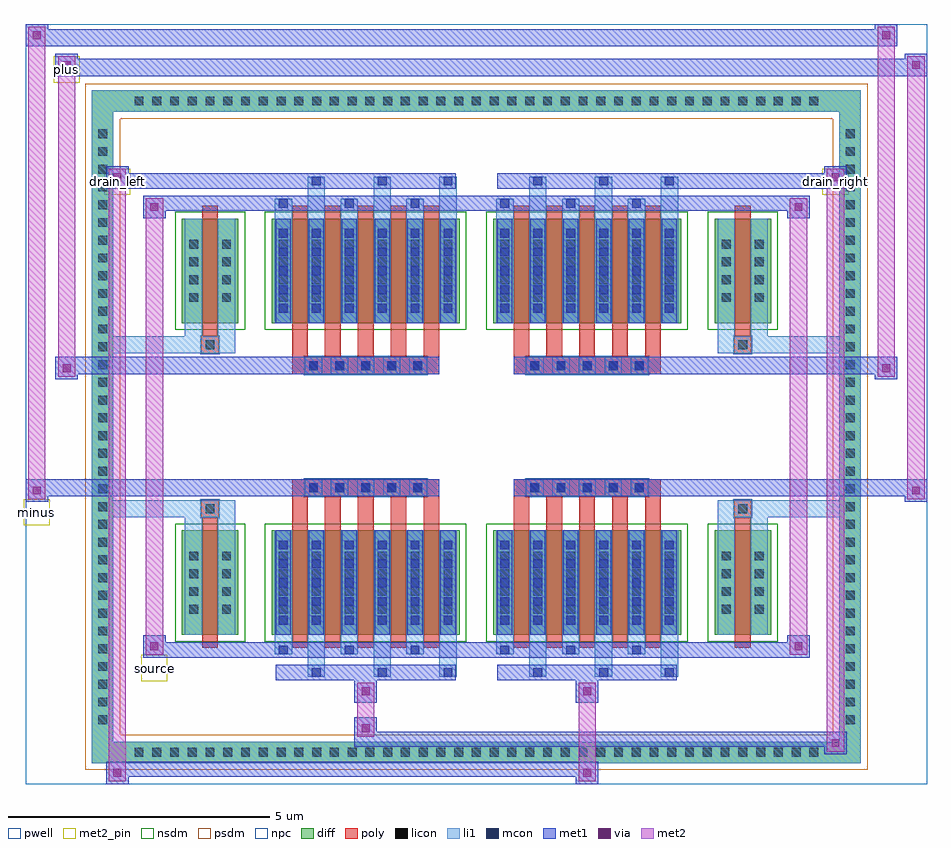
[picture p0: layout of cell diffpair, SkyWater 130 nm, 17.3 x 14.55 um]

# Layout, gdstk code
import gdstk
lib = gdstk.Library(unit=1e-6, precision=5e-09)
def R(c, l, rs):  # rectangles x0, y0, x1, y1
    for r in rs: c.add(gdstk.rectangle(r[:2], r[2:], *l))
def A(c, l, x, y, w, h, nx, ny, dx, dy):  # array of equal rectangles
    R(c, l, [(x+i*dx, y+j*dy, x+i*dx+w, y+j*dy+h) for i in range(nx) for j in range(ny)])
def P(c, l, *ps):  # polygons
    for p in ps: c.add(gdstk.Polygon(p, *l))
pwell = (64, 44)
diff = (65, 20)
poly = (66, 20)
licon = (66, 44)
li1 = (67, 20)
mcon = (67, 44)
met1 = (68, 20)
via = (68, 44)
met2_pin = (69, 16)
met2 = (69, 20)
nsdm = (93, 44)
psdm = (94, 20)
npc = (95, 20)

diffpair = lib.new_cell('diffpair')
R(diffpair, pwell, [(-8.63,-6.84,8.63,7.71), (-5.95,-5.03,-0.01,-0.805), (0.01,-5.03,5.95,-0.805), (-5.95,0.805,-0.01,5.03), (0.01,0.805,5.95,5.03)])
A(diffpair, diff, -6.665, -6.44, 0.41, 0.41, 39, 2, 0.34, 12.47)
A(diffpair, diff, -7.36, -5.815, 0.41, 0.41, 1, 34, 0, 0.34)
A(diffpair, diff, 6.95, -5.815, 0.41, 0.41, 1, 34, 0, 0.34)
R(diffpair, diff, [(-6.665,-6.44,6.665,-6.03), (-7.36,-5.815,-6.95,5.815), (6.95,-5.815,7.36,5.815), (-5.64,-3.985,-4.56,-1.985), (-3.92,-3.985,-0.32,-1.985), (0.32,-3.985,3.92,-1.985), (4.56,-3.985,5.64,-1.985), (-5.64,1.985,-4.56,3.985), (-3.92,1.985,-0.32,3.985), (0.32,1.985,3.92,3.985), (4.56,1.985,5.64,3.985), (-6.665,6.03,6.665,6.44)])
P(diffpair, diff, [(7.36,6.44),(-7.36,6.44),(-7.36,-6.03),(-6.95,-6.03),(-6.95,6.03),(6.95,6.03),(6.95,-6.03),(-6.95,-6.03),(-7.36,-6.03),(-7.36,-6.44),(7.36,-6.44)])
A(diffpair, poly, -3.53, -4.235, 0.3, 2.5, 5, 2, 0.63, 5.97)
A(diffpair, poly, 0.71, -4.235, 0.3, 2.5, 5, 2, 0.63, 5.97)
A(diffpair, poly, -3.53, -1.735, 0.3, 0.4, 5, 2, 0.63, 3.07)
A(diffpair, poly, 0.71, -1.735, 0.3, 0.4, 5, 2, 0.63, 3.07)
A(diffpair, poly, -3.285, -1.335, 0.33, 0.33, 5, 2, 0.5, 2.34)
A(diffpair, poly, 0.955, -1.335, 0.33, 0.33, 5, 2, 0.5, 2.34)
R(diffpair, poly, [(-5.25,-4.235,-4.95,-1.735), (4.95,-4.235,5.25,-1.735), (-5.265,-1.735,-4.935,-1.405), (-5.265,-1.735,-4.935,-1.405), (4.935,-1.735,5.265,-1.405), (4.935,-1.735,5.265,-1.405), (-3.53,-1.335,-0.71,-1.005), (0.71,-1.335,3.53,-1.005), (-3.53,1.005,-0.71,1.335), (0.71,1.005,3.53,1.335), (-5.265,1.405,-4.935,1.735), (-5.265,1.405,-4.935,1.735), (4.935,1.405,5.265,1.735), (4.935,1.405,5.265,1.735), (-5.25,1.735,-4.95,4.235), (4.95,1.735,5.25,4.235)])
A(diffpair, licon, -6.545, -6.32, 0.17, 0.17, 39, 2, 0.34, 12.47)
A(diffpair, licon, -7.24, -5.695, 0.17, 0.17, 1, 34, 0, 0.34)
A(diffpair, licon, 7.07, -5.695, 0.17, 0.17, 1, 34, 0, 0.34)
A(diffpair, licon, -5.5, -3.58, 0.17, 0.17, 1, 4, 0, 0.34)
A(diffpair, licon, -4.87, -3.58, 0.17, 0.17, 1, 4, 0, 0.34)
A(diffpair, licon, -3.78, -3.58, 0.17, 0.17, 6, 4, 0.63, 0.34)
A(diffpair, licon, 0.46, -3.58, 0.17, 0.17, 6, 4, 0.63, 0.34)
A(diffpair, licon, 4.7, -3.58, 0.17, 0.17, 1, 4, 0, 0.34)
A(diffpair, licon, 5.33, -3.58, 0.17, 0.17, 1, 4, 0, 0.34)
A(diffpair, licon, -3.205, -1.255, 0.17, 0.17, 5, 2, 0.5, 2.34)
A(diffpair, licon, 1.035, -1.255, 0.17, 0.17, 5, 2, 0.5, 2.34)
A(diffpair, licon, -5.5, 2.39, 0.17, 0.17, 1, 4, 0, 0.34)
A(diffpair, licon, -4.87, 2.39, 0.17, 0.17, 1, 4, 0, 0.34)
A(diffpair, licon, -3.78, 2.39, 0.17, 0.17, 6, 4, 0.63, 0.34)
A(diffpair, licon, 0.46, 2.39, 0.17, 0.17, 6, 4, 0.63, 0.34)
A(diffpair, licon, 4.7, 2.39, 0.17, 0.17, 1, 4, 0, 0.34)
A(diffpair, licon, 5.33, 2.39, 0.17, 0.17, 1, 4, 0, 0.34)
R(diffpair, licon, [(-5.185,-1.655,-5.015,-1.485), (5.015,-1.655,5.185,-1.485), (-5.185,1.485,-5.015,1.655), (5.015,1.485,5.185,1.655)])
A(diffpair, li1, -6.625, -6.4, 0.33, 0.33, 39, 2, 0.34, 12.47)
A(diffpair, li1, -7.32, -5.775, 0.33, 0.33, 1, 34, 0, 0.34)
A(diffpair, li1, 6.99, -5.775, 0.33, 0.33, 1, 34, 0, 0.34)
A(diffpair, li1, -3.23, -4.79, 0.33, 0.805, 3, 2, 1.26, 8.775)
A(diffpair, li1, -3.15, -4.79, 0.17, 0.17, 3, 2, 1.26, 9.41)
A(diffpair, li1, 1.01, -4.79, 0.33, 0.805, 3, 2, 1.26, 8.775)
A(diffpair, li1, 1.09, -4.79, 0.17, 0.17, 3, 2, 1.26, 9.41)
A(diffpair, li1, -3.86, -4.36, 0.33, 0.375, 3, 2, 1.26, 8.345)
A(diffpair, li1, -3.78, -4.36, 0.17, 0.17, 3, 2, 1.26, 8.55)
A(diffpair, li1, 0.38, -4.36, 0.33, 0.375, 3, 2, 1.26, 8.345)
A(diffpair, li1, 0.46, -4.36, 0.17, 0.17, 3, 2, 1.26, 8.55)
A(diffpair, li1, -3.86, -3.985, 0.33, 2, 6, 2, 0.63, 5.97)
A(diffpair, li1, 0.38, -3.985, 0.33, 2, 6, 2, 0.63, 5.97)
A(diffpair, li1, -3.78, -3.79, 0.17, 0.17, 6, 5, 0.63, 0.36)
A(diffpair, li1, -3.78, -3.79, 0.17, 1.61, 6, 2, 0.63, 5.97)
A(diffpair, li1, 0.46, -3.79, 0.17, 0.17, 6, 5, 0.63, 0.36)
A(diffpair, li1, 0.46, -3.79, 0.17, 1.61, 6, 2, 0.63, 5.97)
A(diffpair, li1, -5.58, -3.66, 0.33, 0.33, 1, 4, 0, 0.34)
A(diffpair, li1, -4.95, -3.66, 0.33, 0.33, 1, 4, 0, 0.34)
A(diffpair, li1, -3.86, -3.66, 0.33, 0.33, 6, 4, 0.63, 0.34)
A(diffpair, li1, 0.38, -3.66, 0.33, 0.33, 6, 4, 0.63, 0.34)
A(diffpair, li1, 4.62, -3.66, 0.33, 0.33, 1, 4, 0, 0.34)
A(diffpair, li1, 5.25, -3.66, 0.33, 0.33, 1, 4, 0, 0.34)
A(diffpair, li1, -3.285, -1.335, 0.33, 0.33, 5, 2, 0.5, 2.34)
A(diffpair, li1, 0.955, -1.335, 0.33, 0.33, 5, 2, 0.5, 2.34)
A(diffpair, li1, -3.78, 2.18, 0.17, 0.17, 6, 5, 0.63, 0.36)
A(diffpair, li1, 0.46, 2.18, 0.17, 0.17, 6, 5, 0.63, 0.36)
A(diffpair, li1, -5.58, 2.31, 0.33, 0.33, 1, 4, 0, 0.34)
A(diffpair, li1, -4.95, 2.31, 0.33, 0.33, 1, 4, 0, 0.34)
A(diffpair, li1, -3.86, 2.31, 0.33, 0.33, 6, 4, 0.63, 0.34)
A(diffpair, li1, 0.38, 2.31, 0.33, 0.33, 6, 4, 0.63, 0.34)
A(diffpair, li1, 4.62, 2.31, 0.33, 0.33, 1, 4, 0, 0.34)
A(diffpair, li1, 5.25, 2.31, 0.33, 0.33, 1, 4, 0, 0.34)
R(diffpair, li1, [(-7.36,-6.44,-6.95,-6.03), (-7.36,-6.44,-6.95,-6.03), (-6.95,-6.44,6.95,-6.03), (6.95,-6.44,7.36,-6.03), (6.95,-6.44,7.36,-6.03), (-7.36,-6.03,-6.95,6.03), (6.95,-6.03,7.36,6.03), (-5.58,-3.985,-5.25,-1.985), (-4.95,-3.985,-4.62,-1.985), (4.62,-3.985,4.95,-1.985), (5.25,-3.985,5.58,-1.985), (-5.58,-1.985,-5.25,-1.405), (-4.95,-1.985,-4.62,-1.405), (4.62,-1.985,4.95,-1.405), (5.25,-1.985,5.58,-1.405), (-7.36,-1.735,-5.265,-1.405), (-5.58,-1.735,-5.265,-1.405), (-5.265,-1.735,-4.935,-1.405), (-4.935,-1.735,-4.62,-1.405), (4.62,-1.735,4.935,-1.405), (4.935,-1.735,5.265,-1.405), (4.935,-1.735,7.36,-1.405), (5.265,-1.735,5.58,-1.405), (-7.36,1.405,-5.265,1.735), (-5.58,1.405,-5.265,1.735), (-5.58,1.405,-5.25,1.985), (-5.265,1.405,-4.935,1.735), (-4.95,1.405,-4.62,1.985), (-4.935,1.405,-4.62,1.735), (4.62,1.405,4.935,1.735), (4.62,1.405,4.95,1.985), (4.935,1.405,5.265,1.735), (4.935,1.405,7.36,1.735), (5.25,1.405,5.58,1.985), (5.265,1.405,5.58,1.735), (-5.58,1.985,-5.25,3.985), (-4.95,1.985,-4.62,3.985), (4.62,1.985,4.95,3.985), (5.25,1.985,5.58,3.985), (-7.36,6.03,-6.95,6.44), (-7.36,6.03,-6.95,6.44), (-6.95,6.03,6.95,6.44), (6.95,6.03,7.36,6.44), (6.95,6.03,7.36,6.44)])
A(diffpair, mcon, -3.15, -4.79, 0.17, 0.17, 3, 2, 1.26, 9.41)
A(diffpair, mcon, 1.09, -4.79, 0.17, 0.17, 3, 2, 1.26, 9.41)
A(diffpair, mcon, -3.78, -4.36, 0.17, 0.17, 3, 2, 1.26, 8.55)
A(diffpair, mcon, 0.46, -4.36, 0.17, 0.17, 3, 2, 1.26, 8.55)
A(diffpair, mcon, -3.78, -3.79, 0.17, 0.17, 6, 5, 0.63, 0.36)
A(diffpair, mcon, 0.46, -3.79, 0.17, 0.17, 6, 5, 0.63, 0.36)
A(diffpair, mcon, -3.205, -1.255, 0.17, 0.17, 5, 2, 0.5, 2.34)
A(diffpair, mcon, 1.035, -1.255, 0.17, 0.17, 5, 2, 0.5, 2.34)
A(diffpair, mcon, -3.78, 2.18, 0.17, 0.17, 6, 5, 0.63, 0.36)
A(diffpair, mcon, 0.46, 2.18, 0.17, 0.17, 6, 5, 0.63, 0.36)
A(diffpair, met1, -3.21, -4.85, 0.29, 0.29, 3, 2, 1.26, 9.41)
A(diffpair, met1, 1.03, -4.85, 0.29, 0.29, 3, 2, 1.26, 9.41)
A(diffpair, met1, -3.84, -4.42, 0.29, 0.29, 3, 2, 1.26, 8.55)
A(diffpair, met1, 0.4, -4.42, 0.29, 0.29, 3, 2, 1.26, 8.55)
A(diffpair, met1, -3.84, -3.985, 0.29, 2, 6, 2, 0.63, 5.97)
A(diffpair, met1, 0.4, -3.985, 0.29, 2, 6, 2, 0.63, 5.97)
A(diffpair, met1, -3.84, -3.85, 0.29, 0.29, 6, 5, 0.63, 0.36)
A(diffpair, met1, 0.4, -3.85, 0.29, 0.29, 6, 5, 0.63, 0.36)
A(diffpair, met1, -3.265, -1.315, 0.29, 0.29, 5, 2, 0.5, 2.34)
A(diffpair, met1, 0.975, -1.315, 0.29, 0.29, 5, 2, 0.5, 2.34)
A(diffpair, met1, -3.84, 2.12, 0.29, 0.29, 6, 5, 0.63, 0.36)
A(diffpair, met1, 0.4, 2.12, 0.29, 0.29, 6, 5, 0.63, 0.36)
R(diffpair, met1, [(-7.09,-6.84,-6.66,-6.41), (1.905,-6.84,2.335,-6.41), (-7.09,-6.7,2.335,-6.41), (6.66,-6.27,7.09,-5.84), (-2.335,-6.13,7.09,-5.84), (-2.335,-5.99,-1.905,-5.56), (-2.335,-5.28,-1.905,-4.85), (1.905,-5.28,2.335,-4.85), (-3.84,-4.85,-0.4,-4.56), (0.4,-4.85,3.84,-4.56), (-6.38,-4.42,-5.95,-3.99), (-6.38,-4.42,-3.84,-4.13), (-3.84,-4.42,-0.4,-4.13), (-0.4,-4.42,0.4,-4.13), (0.4,-4.42,3.84,-4.13), (3.84,-4.42,6.38,-4.13), (5.95,-4.42,6.38,-3.99), (-8.63,-1.435,-8.2,-1.005), (8.2,-1.435,8.63,-1.005), (-8.63,-1.335,-0.71,-1.005), (-3.53,-1.335,-0.71,-1.005), (0.71,-1.335,3.53,-1.005), (0.71,-1.335,8.63,-1.005), (-8.06,0.905,-7.63,1.335), (7.63,0.905,8.06,1.335), (-8.06,1.005,-3.53,1.335), (-3.53,1.005,-0.71,1.335), (0.71,1.005,3.53,1.335), (3.53,1.005,8.06,1.335), (-6.38,3.99,-5.95,4.42), (5.95,3.99,6.38,4.42), (-6.38,4.13,-3.84,4.42), (-3.84,4.13,-0.4,4.42), (-0.4,4.13,0.4,4.42), (0.4,4.13,3.84,4.42), (3.84,4.13,6.38,4.42), (-7.09,4.56,-6.66,4.99), (-7.09,4.56,-3.84,4.85), (-3.84,4.56,-0.4,4.85), (0.4,4.56,3.84,4.85), (3.84,4.56,7.09,4.85), (6.66,4.56,7.09,4.99), (-8.06,6.71,-7.63,7.14), (-8.06,6.71,-5.95,7.04), (-5.95,6.71,5.95,7.04), (5.95,6.71,8.63,7.04), (8.2,6.71,8.63,7.14), (-8.63,7.28,-8.2,7.71), (-8.63,7.28,-5.95,7.61), (-5.95,7.28,5.95,7.61), (5.95,7.28,8.06,7.61), (7.63,7.28,8.06,7.71)])
R(diffpair, via, [(-6.95,-6.7,-6.8,-6.55), (2.045,-6.7,2.195,-6.55), (6.8,-6.13,6.95,-5.98), (-2.195,-5.85,-2.045,-5.7), (-2.195,-5.14,-2.045,-4.99), (2.045,-5.14,2.195,-4.99), (-6.24,-4.28,-6.09,-4.13), (6.09,-4.28,6.24,-4.13), (-8.49,-1.295,-8.34,-1.145), (8.34,-1.295,8.49,-1.145), (-7.92,1.045,-7.77,1.195), (7.77,1.045,7.92,1.195), (-6.24,4.13,-6.09,4.28), (6.09,4.13,6.24,4.28), (-6.95,4.7,-6.8,4.85), (6.8,4.7,6.95,4.85), (-7.92,6.85,-7.77,7), (8.34,6.85,8.49,7), (-8.49,7.42,-8.34,7.57), (7.77,7.42,7.92,7.57)])
R(diffpair, met2_pin, [(-6.415,-4.87,-5.915,-4.37), (-8.665,-1.885,-8.165,-1.385), (-7.125,4.44,-6.625,4.94), (6.625,4.44,7.125,4.94), (-8.095,6.59,-7.595,7.09)])
R(diffpair, met2, [(-7.04,-6.79,-6.71,-6.46), (-7.04,-6.79,-6.71,4.94), (1.955,-6.79,2.285,-6.46), (1.955,-6.46,2.285,-5.23), (6.71,-6.22,7.04,-5.89), (6.71,-6.22,7.04,4.94), (-2.285,-5.94,-1.955,-5.61), (-2.285,-5.61,-1.955,-5.23), (-2.285,-5.23,-1.955,-4.9), (1.955,-5.23,2.285,-4.9), (-6.33,-4.37,-6,-4.04), (-6.33,-4.37,-6,4.37), (6,-4.37,6.33,-4.04), (6,-4.37,6.33,4.37), (-8.58,-1.385,-8.25,-1.055), (-8.58,-1.385,-8.25,7.66), (8.25,-1.385,8.58,-1.055), (8.25,-1.385,8.58,7.09), (-8.01,0.955,-7.68,1.285), (-8.01,0.955,-7.68,7.09), (7.68,0.955,8.01,1.285), (7.68,0.955,8.01,7.66), (-6.33,4.04,-6,4.37), (6,4.04,6.33,4.37), (-7.04,4.61,-6.71,4.94), (6.71,4.61,7.04,4.94), (-8.01,6.76,-7.68,7.09), (8.25,6.76,8.58,7.09), (-8.58,7.33,-8.25,7.66), (7.68,7.33,8.01,7.66)])
P(diffpair, met2, [(8.58,-1.385),(8.58,-1.385),(8.58,-1.055),(8.58,-1.055)],
  [(8.58,6.76),(8.58,6.76),(8.58,7.09),(8.58,7.09)],
  [(-8.25,-1.385),(-8.25,-1.385),(-8.25,-1.055),(-8.25,-1.055)],
  [(-8.25,7.33),(-8.25,7.33),(-8.25,7.66),(-8.25,7.66)],
  [(8.01,0.955),(8.01,0.955),(8.01,1.285),(8.01,1.285)],
  [(8.01,7.33),(8.01,7.33),(8.01,7.66),(8.01,7.66)],
  [(-7.68,0.955),(-7.68,0.955),(-7.68,1.285),(-7.68,1.285)],
  [(-7.68,6.76),(-7.68,6.76),(-7.68,7.09),(-7.68,7.09)],
  [(-6.71,-6.79),(-6.71,-6.79),(-6.71,-6.46),(-6.71,-6.46)],
  [(-6.71,4.61),(-6.71,4.61),(-6.71,4.94),(-6.71,4.94)],
  [(7.04,-6.22),(7.04,-6.22),(7.04,-5.89),(7.04,-5.89)],
  [(7.04,4.61),(7.04,4.61),(7.04,4.94),(7.04,4.94)],
  [(-6,-4.37),(-6,-4.37),(-6,-4.04),(-6,-4.04)],
  [(-6,4.04),(-6,4.04),(-6,4.37),(-6,4.37)],
  [(6.33,-4.37),(6.33,-4.37),(6.33,-4.04),(6.33,-4.04)],
  [(6.33,4.04),(6.33,4.04),(6.33,4.37),(6.33,4.37)])
R(diffpair, nsdm, [(-5.77,-4.115,-4.43,-1.855), (-4.05,-4.115,-0.19,-1.855), (0.19,-4.115,4.05,-1.855), (4.43,-4.115,5.77,-1.855), (-5.77,1.855,-4.43,4.115), (-4.05,1.855,-0.19,4.115), (0.19,1.855,4.05,4.115), (4.43,1.855,5.77,4.115)])
P(diffpair, psdm, [(7.49,6.57),(-7.49,6.57),(-7.49,-5.9),(-6.82,-5.9),(-6.82,5.9),(6.82,5.9),(6.82,-5.9),(-6.82,-5.9),(-7.49,-5.9),(-7.49,-6.57),(7.49,-6.57)])
A(diffpair, npc, -3.305, -1.355, 0.37, 0.37, 5, 2, 0.5, 2.34)
A(diffpair, npc, 0.935, -1.355, 0.37, 0.37, 5, 2, 0.5, 2.34)
R(diffpair, npc, [(-5.285,-1.755,-4.915,-1.385), (4.915,-1.755,5.285,-1.385), (-3.305,-1.355,-2.435,-0.985), (-3.305,-1.355,-2.435,-0.985), (-2.805,-1.355,-1.935,-0.985), (-2.805,-1.355,-1.935,-0.985), (-2.305,-1.355,-1.435,-0.985), (-2.305,-1.355,-1.435,-0.985), (-1.805,-1.355,-0.935,-0.985), (-1.805,-1.355,-0.935,-0.985), (0.935,-1.355,1.805,-0.985), (0.935,-1.355,1.805,-0.985), (1.435,-1.355,2.305,-0.985), (1.435,-1.355,2.305,-0.985), (1.935,-1.355,2.805,-0.985), (1.935,-1.355,2.805,-0.985), (2.435,-1.355,3.305,-0.985), (2.435,-1.355,3.305,-0.985), (-3.305,0.985,-2.435,1.355), (-3.305,0.985,-2.435,1.355), (-2.805,0.985,-1.935,1.355), (-2.805,0.985,-1.935,1.355), (-2.305,0.985,-1.435,1.355), (-2.305,0.985,-1.435,1.355), (-1.805,0.985,-0.935,1.355), (-1.805,0.985,-0.935,1.355), (0.935,0.985,1.805,1.355), (0.935,0.985,1.805,1.355), (1.435,0.985,2.305,1.355), (1.435,0.985,2.305,1.355), (1.935,0.985,2.805,1.355), (1.935,0.985,2.805,1.355), (2.435,0.985,3.305,1.355), (2.435,0.985,3.305,1.355), (-5.285,1.385,-4.915,1.755), (4.915,1.385,5.285,1.755)])
diffpair.add(gdstk.Label('minus', (-8.415,-1.635), layer=69, texttype=5))
diffpair.add(gdstk.Label('drain_right', (6.875,4.69), layer=69, texttype=5))
diffpair.add(gdstk.Label('drain_left', (-6.875,4.69), layer=69, texttype=5))
diffpair.add(gdstk.Label('source', (-6.165,-4.62), layer=69, texttype=5))
diffpair.add(gdstk.Label('plus', (-7.845,6.84), layer=69, texttype=5))

lib.write_gds('diffpair.gds')
